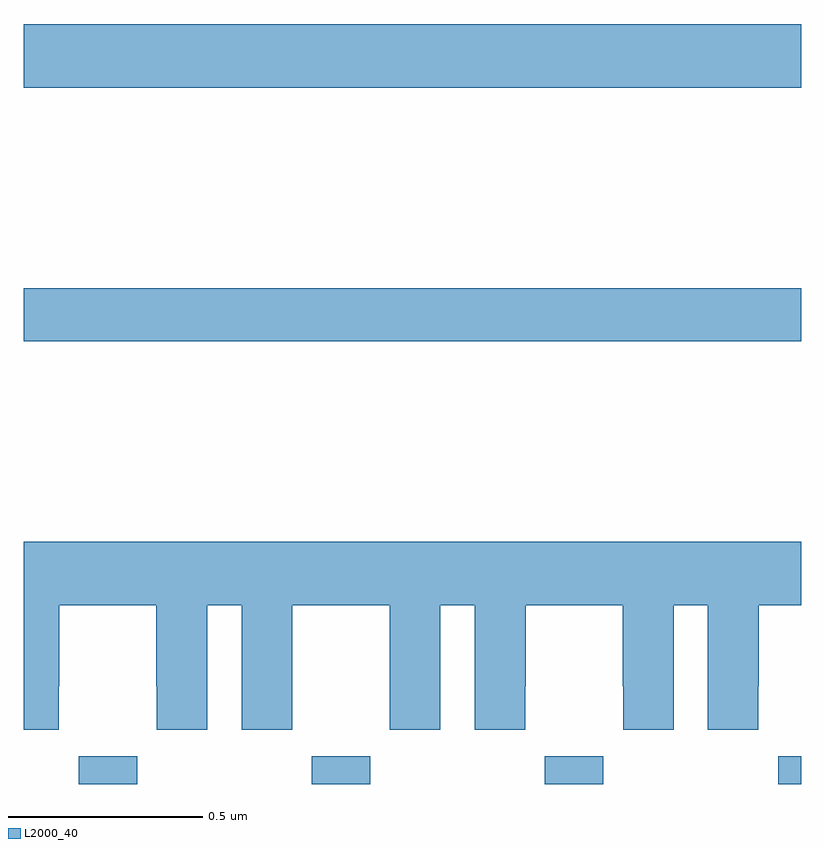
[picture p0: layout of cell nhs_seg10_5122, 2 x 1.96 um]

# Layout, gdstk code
import gdstk
lib = gdstk.Library(unit=1e-6, precision=1e-09)
def R(c, l, rs):  # rectangles x0, y0, x1, y1
    for r in rs: c.add(gdstk.rectangle(r[:2], r[2:], *l))
def A(c, l, x, y, w, h, nx, ny, dx, dy):  # array of equal rectangles
    R(c, l, [(x+i*dx, y+j*dy, x+i*dx+w, y+j*dy+h) for i in range(nx) for j in range(ny)])
def P(c, l, *ps):  # polygons
    for p in ps: c.add(gdstk.Polygon(p, *l))
L2000_40 = (2000, 40)

nhs_seg10_5122 = lib.new_cell('nhs_seg10_5122')
A(nhs_seg10_5122, L2000_40, 174.141, 1322.5, 0.15, 0.072, 3, 1, 0.6, 0)
R(nhs_seg10_5122, L2000_40, [(175.941,1322.5,176,1322.572), (174,1323.64,176,1323.776), (174,1324.292,176,1324.456)])
P(nhs_seg10_5122, L2000_40, [(174.09,1322.752),(174.091,1322.752),(174.091,1322.96),(174.341,1322.96),(174.341,1322.752),(174.342,1322.752),(174.342,1322.64),(174.472,1322.64),(174.472,1322.96),(174.56,1322.96),(174.56,1322.64),(174.69,1322.64),(174.69,1322.752),(174.691,1322.752),(174.691,1322.96),(174.941,1322.96),(174.941,1322.752),(174.942,1322.752),(174.942,1322.64),(175.072,1322.64),(175.072,1322.96),(175.16,1322.96),(175.16,1322.64),(175.29,1322.64),(175.29,1322.752),(175.291,1322.752),(175.291,1322.96),(175.541,1322.96),(175.541,1322.752),(175.542,1322.752),(175.542,1322.64),(175.672,1322.64),(175.672,1322.96),(175.76,1322.96),(175.76,1322.64),(175.89,1322.64),(175.89,1322.752),(175.891,1322.752),(175.891,1322.96),(176,1322.96),(176,1323.124),(174,1323.124),(174,1322.64),(174.09,1322.64)])

lib.write_gds('nhs_seg10_5122.gds')
